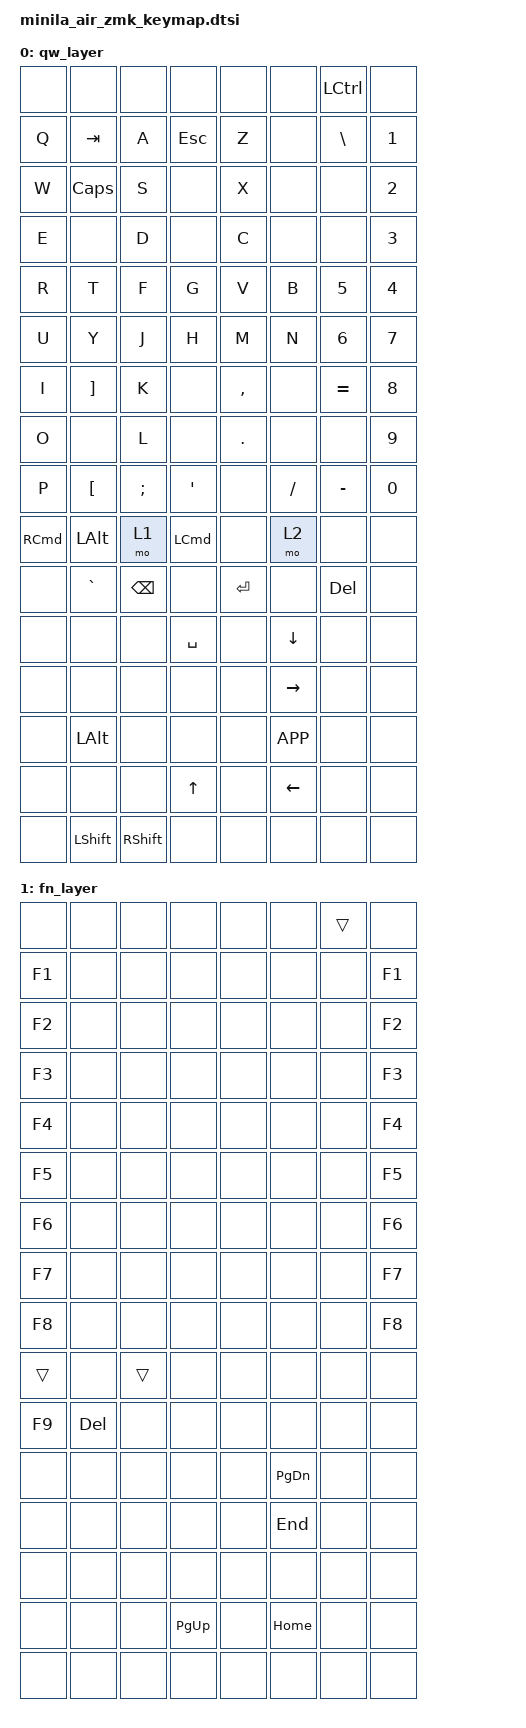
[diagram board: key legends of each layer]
/*
 * Copyright (c) 2022-2024 The ZMK Contributors
 *
 * SPDX-License-Identifier: MIT
 */
 
#define HOST_OS 1
#include <behaviors.dtsi>
#include <dt-bindings/zmk/keys.h>
#include <dt-bindings/zmk/outputs.h>
#include <dt-bindings/zmk/bt.h>
#include <dt-bindings/zmk/ext_power.h>

/ {
    keymap {
        compatible = "zmk,keymap";
        qw_layer {
            bindings = <
                // Row 0: L_Control
                &none      &none      &none      &none      &none      &none      &kp LCTRL  &none
                // Row 1: Q Tab A Esc Z \ 1
                &kp Q      &kp TAB    &kp A      &kp ESC    &kp Z      &none      &kp BSLH   &kp N1
                // Row 2: W Caps S X 2
                &kp W      &kp CAPS   &kp S      &none      &kp X      &none      &none      &kp N2
                // Row 3: E D C 3
                &kp E      &none      &kp D      &none      &kp C      &none      &none      &kp N3
                // Row 4: R T F G V B 5 4
                &kp R      &kp T      &kp F      &kp G      &kp V      &kp B      &kp N5     &kp N4
                // Row 5: U Y J H M N 6 7
                &kp U      &kp Y      &kp J      &kp H      &kp M      &kp N      &kp N6     &kp N7
                // Row 6: I ] K , +/= 8
                &kp I      &kp RBKT   &kp K      &none      &kp COMMA  &none      &kp EQUAL  &kp N8
                // Row 7: O L . 9
                &kp O      &none      &kp L      &none      &kp DOT    &none      &none      &kp N9
                // Row 8: P [ ; ' / - 0
                &kp P      &kp LBKT   &kp SEMI   &kp SQT    &none      &kp SLASH  &kp MINUS  &kp N0
                // Row 9: R_Fn L_Fn L_Alt R_Alt
                &kp RIGHT_COMMAND      &kp LALT      &mo 1      &kp LEFT_COMMAND   &none      &mo 2   &none      &none
                // Row 10: ` Backspace Enter ANY
                &none      &kp GRAVE  &kp BSPC   &none      &kp ENTER  &none      &kp DEL    &none
                // Row 11: Space Down
                &none      &none      &none      &kp SPACE  &none      &kp DOWN   &none      &none
                // Row 12: Right
                &none      &none      &none      &none      &none      &kp RIGHT  &none      &none
                // Row 13: Win App
                &none      &kp LALT   &none      &none      &none      &kp K_APP  &none      &none
                // Row 14: UP Left
                &none      &none      &none      &kp UP     &none      &kp LEFT   &none      &none
                // Row 15: L_Shift R_Shift
                &none      &kp LSHFT  &kp RSHFT  &none      &none      &none      &none      &none
            >;
        };
        
        fn_layer {
            bindings = <
                // Row 0: L_Control
                &none      &none      &none      &none      &none      &none      &trans     &none
                // Row 1: F1 none none none none none F1
                &kp F1     &none      &none      &none      &none      &none      &none      &kp F1
                // Row 2: F2 none none none F2
                &kp F2     &none      &none      &none      &none      &none      &none      &kp F2
                // Row 3: F3 none none F3
                &kp F3     &none      &none      &none      &none      &none      &none      &kp F3
                // Row 4: F4 none none none none none none F4
                &kp F4     &none      &none      &none      &none      &none      &none      &kp F4
                // Row 5: F5 none none none none none none F5
                &kp F5     &none      &none      &none      &none      &none      &none      &kp F5
                // Row 6: F6 none none none none F6
                &kp F6     &none      &none      &none      &none      &none      &none      &kp F6
                // Row 7: F7 none none F7
                &kp F7     &none      &none      &none      &none      &none      &none      &kp F7
                // Row 8: F8 none none none none none F8
                &kp F8     &none      &none      &none      &none      &none      &none      &kp F8
                // Row 9: trans trans none none
                &trans     &none      &trans     &none      &none      &none      &none      &none
                // Row 10: F9 DEL none none
                &kp F9     &kp DEL    &none      &none      &none      &none      &none      &none
                // Row 11: none PG_DN
                &none      &none      &none      &none      &none      &kp PG_DN  &none      &none
                // Row 12: END
                &none      &none      &none      &none      &none      &kp END    &none      &none
                // Row 13: none none
                &none      &none      &none      &none      &none      &none      &none      &none
                // Row 14: PG_UP none HOME
                &none      &none      &none      &kp PG_UP  &none      &kp HOME   &none      &none
                // Row 15: none none
                &none      &none      &none      &none      &none      &none      &none      &none
            >;
        };
    };
};
